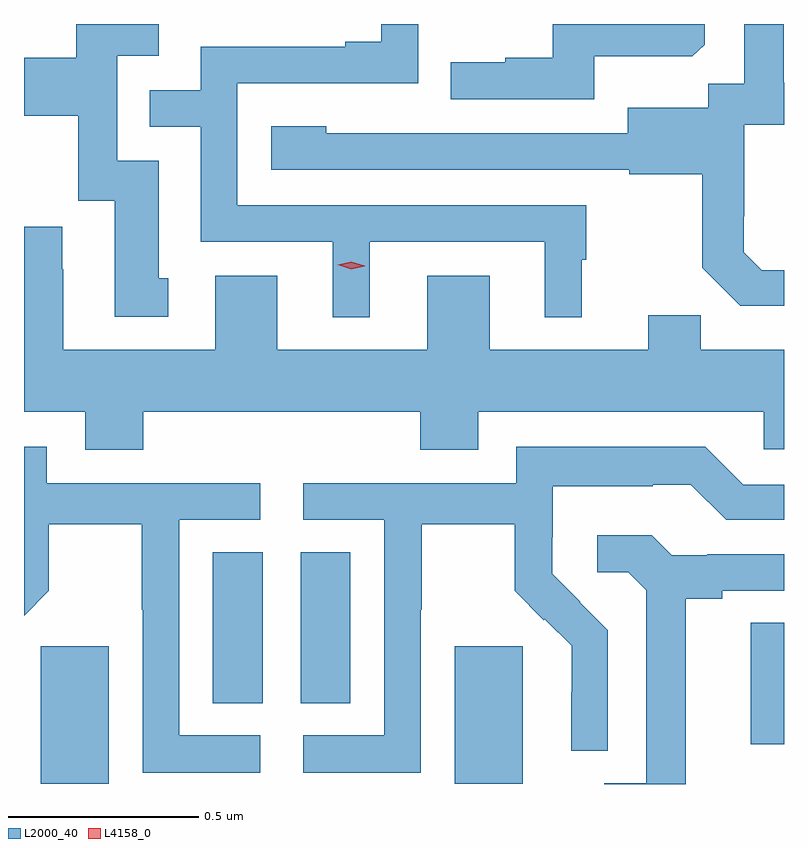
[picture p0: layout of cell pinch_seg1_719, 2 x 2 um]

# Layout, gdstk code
import gdstk
lib = gdstk.Library(unit=1e-6, precision=1e-09)
def R(c, l, rs):  # rectangles x0, y0, x1, y1
    for r in rs: c.add(gdstk.rectangle(r[:2], r[2:], *l))
def P(c, l, *ps):  # polygons
    for p in ps: c.add(gdstk.Polygon(p, *l))
L2000_40 = (2000, 40)
L4158_0 = (4158, 0)

pinch_seg1_719 = lib.new_cell('pinch_seg1_719')
R(pinch_seg1_719, L2000_40, [(747.428,572.066,747.607,572.427), (748.517,572.066,748.696,572.427), (749.297,572.169,749.384,572.489), (747.881,572.278,748.012,572.675), (748.112,572.278,748.243,572.675)])
P(pinch_seg1_719, L2000_40, [(749.384,573.417),(749.325,573.417),(749.278,573.464),(749.278,573.559),(749.28,573.559),(749.28,573.8),(749.384,573.8),(749.384,573.91),(749.383,573.91),(749.383,574.065),(749.279,574.065),(749.279,573.908),(749.184,573.908),(749.184,573.844),(748.973,573.844),(748.973,573.777),(748.415,573.777),(748.415,573.778),(748.179,573.778),(748.179,573.796),(748.035,573.796),(748.035,573.681),(748.977,573.681),(748.977,573.669),(749.169,573.669),(749.169,573.423),(749.269,573.323),(749.384,573.323)],
  [(748.294,573.492),(748.754,573.492),(748.754,573.293),(748.852,573.293),(748.852,573.444),(748.864,573.444),(748.864,573.588),(747.945,573.588),(747.945,573.909),(748.422,573.909),(748.422,574.065),(748.324,574.065),(748.324,574.018),(748.229,574.018),(748.229,574.005),(747.849,574.005),(747.849,573.891),(747.715,573.891),(747.715,573.795),(747.849,573.795),(747.849,573.492),(748.196,573.492),(748.196,573.293),(748.294,573.293)],
  [(747.763,573.396),(747.739,573.396),(747.739,573.705),(747.63,573.705),(747.63,573.981),(747.739,573.981),(747.739,574.065),(747.522,574.065),(747.522,573.976),(747.384,573.976),(747.384,573.824),(747.527,573.824),(747.527,573.6),(747.623,573.6),(747.623,573.294),(747.763,573.294)],
  [(748.885,573.98),(749.143,573.98),(749.175,574.011),(749.175,574.065),(748.775,574.065),(748.775,573.976),(748.651,573.976),(748.651,573.964),(748.507,573.964),(748.507,573.867),(748.885,573.867)],
  [(747.698,573.044),(748.427,573.044),(748.427,572.945),(748.579,572.945),(748.579,573.044),(749.331,573.044),(749.331,572.946),(749.384,572.946),(749.384,573.208),(749.165,573.208),(749.165,573.299),(749.027,573.299),(749.027,573.208),(748.609,573.208),(748.609,573.403),(748.445,573.403),(748.445,573.208),(748.051,573.208),(748.051,573.403),(747.887,573.403),(747.887,573.208),(747.487,573.208),(747.487,573.419),(747.484,573.419),(747.484,573.532),(747.384,573.532),(747.384,573.044),(747.545,573.044),(747.545,572.945),(747.698,572.945)],
  [(748.006,572.193),(747.792,572.193),(747.792,572.76),(748.006,572.76),(748.006,572.856),(747.444,572.856),(747.444,572.953),(747.384,572.953),(747.384,572.508),(747.449,572.573),(747.449,572.748),(747.694,572.748),(747.694,572.524),(747.696,572.524),(747.696,572.095),(748.006,572.095)],
  [(748.428,572.524),(748.431,572.524),(748.431,572.748),(748.675,572.748),(748.675,572.573),(748.752,572.496),(748.755,572.499),(748.826,572.429),(748.826,572.306),(748.824,572.306),(748.824,572.152),(748.92,572.152),(748.92,572.47),(748.847,572.543),(748.848,572.544),(748.774,572.618),(748.774,572.715),(748.776,572.715),(748.776,572.849),(749.039,572.849),(749.039,572.853),(749.139,572.853),(749.232,572.76),(749.384,572.76),(749.384,572.853),(749.277,572.853),(749.177,572.953),(748.68,572.953),(748.68,572.856),(748.119,572.856),(748.119,572.76),(748.332,572.76),(748.332,572.193),(748.119,572.193),(748.119,572.095),(748.428,572.095)],
  [(749.125,572.552),(749.221,572.552),(749.221,572.574),(749.384,572.574),(749.384,572.67),(749.182,572.67),(749.182,572.667),(749.088,572.667),(749.036,572.719),(748.893,572.719),(748.893,572.622),(748.974,572.622),(749.021,572.575),(749.021,572.067),(748.911,572.067),(748.911,572.065),(749.125,572.065)])
P(pinch_seg1_719, L4158_0, [(748.245,573.42),(748.209,573.431),(748.209,573.431),(748.209,573.431),(748.245,573.44),(748.281,573.429),(748.281,573.429),(748.281,573.428)])

lib.write_gds('pinch_seg1_719.gds')
